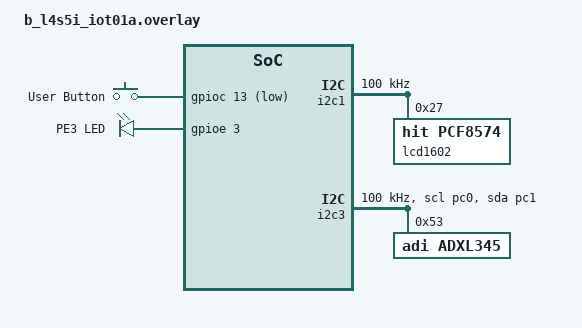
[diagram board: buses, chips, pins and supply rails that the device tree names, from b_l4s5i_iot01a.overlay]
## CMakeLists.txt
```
cmake_minimum_required(VERSION 3.20.0)

find_package(Zephyr REQUIRED HINTS $ENV{ZEPHYR_BASE})
project(app_test_5)

target_sources(app PRIVATE src/main.c)
```

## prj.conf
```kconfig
CONFIG_GPIO=y
CONFIG_I2C=y
CONFIG_SENSOR=y
CONFIG_ADXL345=y    #i2c才需要加，spi不需要
CONFIG_PRINTK=y
CONFIG_STDOUT_CONSOLE=y
CONFIG_MULTITHREADING=y
CONFIG_CBPRINTF_FP_SUPPORT=y



CONFIG_MAIN_STACK_SIZE=2048
CONFIG_IDLE_STACK_SIZE=1024


CONFIG_SYSTEM_WORKQUEUE_STACK_SIZE=2048

CONFIG_LOG=y

CONFIG_DEBUG_OPTIMIZATIONS=n
CONFIG_NEWLIB_LIBC=y
```

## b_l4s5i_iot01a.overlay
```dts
/ {
    /* 1. 定義別名，讓 C 程式碼找到 sw1 */
    aliases {
        sw1 = &blue_button;  /* 按鈕命名 */
        accel0 = &adxl345;
        lcd0 = &lcd1602;
    };

    /* 2. 定義按鈕硬體資訊 */
    buttons {
        compatible = "gpio-keys";
        blue_button: button_0 {
            /* PC13 是 B-L4S5I-IOT01A 的 User Button 腳位 */
            gpios = <&gpioc 13 GPIO_ACTIVE_LOW>;
            label = "User Button";
        };
    };
};



/ {
	/* 統一寫在一個 aliases 區塊 */
	aliases {
		led0 = &green_led_2; /* 對應開發板原本的綠燈 */
		led1 = &pe3_led;     /* 對應你新增的 PE3 LED */
	};

	leds {
		compatible = "gpio-leds";
		pe3_led: pe3_led {
			gpios = <&gpioe 3 GPIO_ACTIVE_HIGH>;
			label = "PE3 LED";
		}; 
	};
};


/*定義LCD相關的I2C*/
&i2c1 {
    status = "okay";
    clock-frequency = <100000>;

    lcd1602: lcd@27 {
        compatible = "hit,pcf8574";  // PCF8574 是 I2C I/O 擴展器
        reg = <0x27>;                // 常見的 LCD I2C 位址 (可用 i2cdetect 掃描)
        status = "okay";
    };
};

/*定義感測器相關的I2C*/
&i2c3 {
    status = "okay";
    clock-frequency = <100000>;
    
    /* 設定引腳為 PC0 和 PC1 */
    pinctrl-0 = <&i2c3_scl_pc0 &i2c3_sda_pc1>;
    pinctrl-names = "default";

    adxl345: adxl345@53 {
        compatible = "adi,adxl345";
        reg = <0x53>;
        status = "okay";
    };
};
```

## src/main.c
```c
#include <zephyr/kernel.h>
#include <zephyr/device.h>
#include <zephyr/drivers/i2c.h>
#include <zephyr/drivers/gpio.h>
#include <zephyr/sys/printk.h>
#include <stdio.h>

/*透過按鈕觸發中斷，執行從感測器讀去數值，並顯示在LCD顯示器上。重點:gpio(按鈕、sensor、LCD(不能接3.3V)、thread、Semaphore)*/
/*i2c1腳位:SCL->pb8、SDA->pb9*/
/*i2c3腳位:SCL->pc0、SDA->pc1*/
/* --- 硬體定義 --- */
// 根據你的 Overlay，LCD 在 i2c3，ADXL345 在 i2c1
static const struct i2c_dt_spec lcd_spec = I2C_DT_SPEC_GET(DT_ALIAS(lcd0));     //LED硬體定義
static const struct i2c_dt_spec adxl_spec = I2C_DT_SPEC_GET(DT_ALIAS(accel0));  //LCD硬體定義
static const struct gpio_dt_spec button = GPIO_DT_SPEC_GET(DT_ALIAS(sw1), gpios);   //按鈕硬體定義

/* LCD 控制位元 (PCF8574 對應 LCD1602 引腳) */
#define RS_BIT 0x01 // P0
#define RW_BIT 0x02 // P1
#define EN_BIT 0x04 // P2
#define BK_BIT 0x08 // P3 - 背光控制 (一定要為 1 才會亮)

/* 同步元件 */
K_SEM_DEFINE(button_sem, 0, 1); // Binary Semaphore

/* --- LCD 底層函式 --- */

static void lcd_write_nibble(uint8_t nibble, uint8_t rs) {
    uint8_t data = (nibble & 0xF0) | rs | BK_BIT;
    uint8_t pkt[2];

    // Enable high
    pkt[0] = data | EN_BIT;
    i2c_write_dt(&lcd_spec, &pkt[0], 1);
    k_usleep(1); // 脈衝寬度

    // Enable low
    pkt[1] = data;
    i2c_write_dt(&lcd_spec, &pkt[1], 1);
    k_usleep(50); // 指令執行時間
}

static void lcd_send_cmd(uint8_t cmd) {
    lcd_write_nibble(cmd & 0xF0, 0);       // 高 4 位
    lcd_write_nibble((cmd << 4) & 0xF0, 0); // 低 4 位
}

static void lcd_send_data(uint8_t data) {
    lcd_write_nibble(data & 0xF0, RS_BIT);
    lcd_write_nibble((data << 4) & 0xF0, RS_BIT);
}

static void lcd_init(void) {
    k_msleep(50);
    // 初始化為 4-bit 模式 (根據 HD44780 手冊)
    lcd_write_nibble(0x30, 0);
    k_msleep(5);
    lcd_write_nibble(0x30, 0);
    k_usleep(150);
    lcd_write_nibble(0x30, 0);
    lcd_write_nibble(0x20, 0);

    lcd_send_cmd(0x28); // 4-bit, 2-line, 5x8
    lcd_send_cmd(0x0C); // Display on, cursor off
    lcd_send_cmd(0x06); // Entry mode
    lcd_send_cmd(0x01); // Clear
    k_msleep(2);
}

static void lcd_send_string(const char *str) {
    while (*str) lcd_send_data(*str++);
}

/* --- 按鈕中斷 --- */
static struct gpio_callback button_cb_data;
void button_pressed(const struct device *dev, struct gpio_callback *cb, uint32_t pins) {
    k_sem_give(&button_sem); // 釋放信號量
}

/* --- 工作執行緒：不使用 Mutex，純由 Semaphore 觸發 --- */
void worker_thread(void) {
    uint8_t raw[6];
    uint8_t reg = 0x32; // ADXL345 DATAX0
    char buf[32];

    lcd_init();
    lcd_send_string("System Ready");

    while (1) {
        // 1. 等待按鈕按下 (Binary Semaphore)
        k_sem_take(&button_sem, K_FOREVER); 

        // 2. 顯示等待畫面
        lcd_send_cmd(0x01); // Clear Display
        k_msleep(2);
        
        lcd_send_cmd(0x80); // 第一行
        lcd_send_string("Resetting...");
        lcd_send_cmd(0xC0); // 第二行
        lcd_send_string("Please Wait...");

        // 模擬處理時間，讓使用者看清楚「等待」字樣
        k_msleep(800); 

        // 3. 直接進行 I2C 讀取 (不使用 mutex)
        int ret = i2c_write_read_dt(&adxl_spec, &reg, 1, raw, 6);

        if (ret == 0) {
            int16_t x = (int16_t)((raw[1] << 8) | raw[0]);
            int16_t y = (int16_t)((raw[3] << 8) | raw[2]);
            int16_t z = (int16_t)((raw[5] << 8) | raw[4]);

            lcd_send_cmd(0x01); // Clear
            k_msleep(2);

            // 第一行：顯示 X 和 Y
            // 使用 %-6d 格式化可以讓數字佔據固定寬度，畫面比較不會抖動
            snprintf(buf, sizeof(buf), "X:%d Y:%d", x, y);
            lcd_send_cmd(0x80); 
            lcd_send_string(buf);

            // 第二行：顯示 Z
            snprintf(buf, sizeof(buf), "Z:%d [OK]", z);
            lcd_send_cmd(0xC0); 
            lcd_send_string(buf);

            printk("Update Done -> X:%d Y:%d Z:%d\n", x, y, z);
        } else {
            lcd_send_cmd(0x01);
            lcd_send_string("I2C Error!");
            printk("Error: ADXL345 Read Failed\n");
        }

        // 5. 防彈跳延遲
        k_msleep(200);
    }
}

K_THREAD_DEFINE(worker_tid, 1024, worker_thread, NULL, NULL, NULL, 5, 0, 0);

int main(void) {
    if (!device_is_ready(lcd_spec.bus) || !device_is_ready(adxl_spec.bus)) {
        return 0;
    }

    // 初始化 ADXL345 (Measure Mode)
    uint8_t pwr_cmd[] = {0x2D, 0x08};
    i2c_write_dt(&adxl_spec, pwr_cmd, sizeof(pwr_cmd));

    // 配置按鈕
    gpio_pin_configure_dt(&button, GPIO_INPUT);
    gpio_pin_interrupt_configure_dt(&button, GPIO_INT_EDGE_TO_ACTIVE);
    gpio_init_callback(&button_cb_data, button_pressed, BIT(button.pin));
    gpio_add_callback(button.port, &button_cb_data);

    return 0;
}
```
